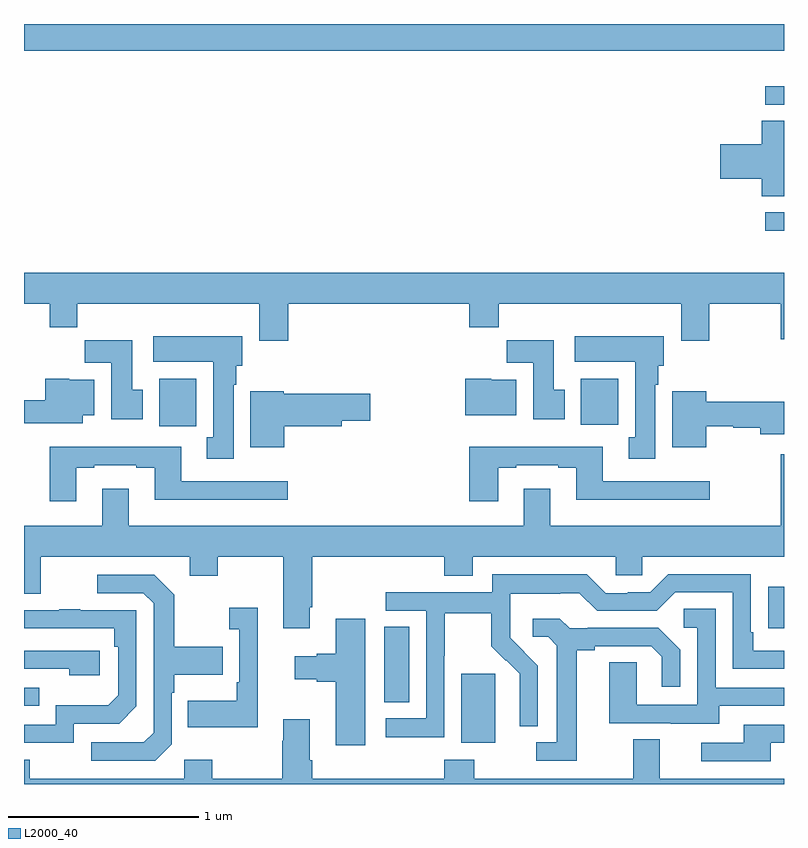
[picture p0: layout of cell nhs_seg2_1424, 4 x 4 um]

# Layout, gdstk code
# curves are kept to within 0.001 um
import gdstk
lib = gdstk.Library(unit=1e-6, precision=1e-09)
def R(c, l, rs):  # rectangles x0, y0, x1, y1
    for r in rs: c.add(gdstk.rectangle(r[:2], r[2:], *l))
def P(c, l, *ps):  # polygons
    for p in ps: c.add(gdstk.Polygon(p, *l))
L2000_40 = (2000, 40)

nhs_seg2_1424 = lib.new_cell('nhs_seg2_1424')
R(nhs_seg2_1424, L2000_40, [(187.301,620.018,187.48,620.379), (185,620.211,185.081,620.307), (186.896,620.23,187.027,620.627), (188.917,620.62,189,620.839), (185.711,621.684,185.907,621.934), (187.931,621.692,188.128,621.934), (188.901,622.711,189,622.809), (188.901,623.376,189,623.472), (185,623.66,189,623.8)])
P(nhs_seg2_1424, L2000_40, [(189,623.291),(188.882,623.291),(188.882,623.168),(188.664,623.168),(188.664,622.985),(188.882,622.985),(188.882,622.894),(189,622.894)],
  [(186.392,622.328),(187.343,622.328),(187.343,622.204),(187.499,622.204),(187.499,622.328),(188.459,622.328),(188.459,622.134),(188.607,622.134),(188.607,622.328),(188.984,622.328),(188.984,622.14),(189,622.14),(189,622.492),(185,622.492),(185,622.328),(185.135,622.328),(185.135,622.204),(185.279,622.204),(185.279,622.328),(186.239,622.328),(186.239,622.134),(186.392,622.134)],
  [(186.103,621.902),(186.118,621.902),(186.118,622.002),(186.148,622.002),(186.148,622.156),(185.679,622.156),(185.679,622.022),(185.996,622.022),(185.996,621.625),(185.963,621.625),(185.963,621.513),(186.103,621.513)],
  [(188.323,621.902),(188.338,621.902),(188.338,622.002),(188.368,622.002),(188.368,622.156),(187.899,622.156),(187.899,622.022),(188.216,622.022),(188.216,621.626),(188.183,621.626),(188.183,621.513),(188.323,621.513)],
  [(185.626,621.876),(185.569,621.876),(185.569,622.135),(185.32,622.135),(185.32,622.016),(185.459,622.016),(185.459,621.72),(185.626,621.72)],
  [(187.846,621.876),(187.789,621.876),(187.789,622.135),(187.54,622.135),(187.54,622.016),(187.679,622.016),(187.679,621.72),(187.846,621.72)],
  [(185.308,621.74),(185.371,621.74),(185.371,621.928),(185.238,621.928),(185.238,621.934),(185.113,621.934),(185.113,621.82),(185,621.82),(185,621.698),(185.308,621.698)],
  [(187.591,621.928),(187.458,621.928),(187.458,621.934),(187.322,621.934),(187.322,621.74),(187.591,621.74)],
  [(188.59,621.684),(188.733,621.684),(188.733,621.676),(188.876,621.676),(188.876,621.641),(189,621.641),(189,621.812),(188.59,621.812),(188.59,621.868),(188.411,621.868),(188.411,621.572),(188.59,621.572)],
  [(186.37,621.683),(186.673,621.683),(186.673,621.713),(186.823,621.713),(186.823,621.855),(186.366,621.855),(186.366,621.868),(186.191,621.868),(186.191,621.572),(186.37,621.572)],
  [(185.275,621.465),(185.371,621.465),(185.371,621.477),(185.591,621.477),(185.591,621.465),(185.687,621.465),(185.687,621.296),(186.388,621.296),(186.388,621.393),(185.827,621.393),(185.827,621.574),(185.135,621.574),(185.135,621.288),(185.275,621.288)],
  [(187.495,621.465),(187.591,621.465),(187.591,621.477),(187.811,621.477),(187.811,621.465),(187.907,621.465),(187.907,621.296),(188.608,621.296),(188.608,621.393),(188.047,621.393),(188.047,621.574),(187.343,621.574),(187.343,621.288),(187.495,621.288)],
  [(186.505,620.731),(186.518,620.731),(186.518,620.996),(187.211,620.996),(187.211,620.897),(187.363,620.897),(187.363,620.996),(188.115,620.996),(188.115,620.898),(188.253,620.898),(188.253,620.996),(189,620.996),(189,621.535),(188.984,621.535),(188.984,621.16),(187.771,621.16),(187.771,621.355),(187.631,621.355),(187.631,621.16),(185.551,621.16),(185.551,621.355),(185.411,621.355),(185.411,621.16),(185,621.16),(185,620.802),(185.089,620.802),(185.089,620.996),(185.873,620.996),(185.873,620.897),(186.021,620.897),(186.021,620.996),(186.365,620.996),(186.365,620.619),(186.505,620.619)],
  [(187.212,620.476),(187.215,620.476),(187.215,620.7),(187.459,620.7),(187.459,620.525),(187.536,620.448),(187.539,620.451),(187.61,620.381),(187.61,620.258),(187.608,620.258),(187.608,620.104),(187.704,620.104),(187.704,620.422),(187.558,620.57),(187.558,620.667),(187.56,620.667),(187.56,620.801),(187.823,620.801),(187.823,620.805),(187.923,620.805),(188.016,620.712),(188.331,620.712),(188.427,620.808),(188.73,620.808),(188.73,620.406),(189,620.406),(189,620.502),(188.839,620.502),(188.839,620.599),(188.826,620.599),(188.826,620.904),(188.391,620.904),(188.295,620.808),(188.177,620.808),(188.177,620.805),(188.061,620.805),(187.961,620.905),(187.464,620.905),(187.464,620.808),(186.903,620.808),(186.903,620.712),(187.116,620.712),(187.116,620.145),(186.903,620.145),(186.903,620.047),(187.212,620.047)],
  [(185.778,620.01),(185.778,620.279),(185.791,620.279),(185.791,620.375),(186.047,620.375),(186.047,620.523),(185.791,620.523),(185.791,620.795),(185.685,620.901),(185.385,620.901),(185.385,620.805),(185.628,620.805),(185.682,620.751),(185.682,620.07),(185.631,620.019),(185.355,620.019),(185.355,619.923),(185.691,619.923)],
  [(186.23,620.728),(186.081,620.728),(186.081,620.615),(186.132,620.615),(186.132,620.335),(186.12,620.335),(186.12,620.239),(185.863,620.239),(185.863,620.099),(186.23,620.099)],
  [(188.659,620.211),(189,620.211),(189,620.307),(188.64,620.307),(188.64,620.723),(188.472,620.723),(188.472,620.622),(188.544,620.622),(188.544,620.217),(188.226,620.217),(188.226,620.441),(188.081,620.441),(188.081,620.121),(188.405,620.121),(188.405,620.117),(188.659,620.117)],
  [(185.262,620.118),(185.502,620.118),(185.592,620.208),(185.592,620.715),(185.297,620.715),(185.297,620.72),(185.185,620.72),(185.185,620.715),(185,620.715),(185,620.619),(185.476,620.619),(185.476,620.522),(185.496,620.522),(185.496,620.268),(185.443,620.215),(185.166,620.215),(185.166,620.112),(185,620.112),(185,620.016),(185.262,620.016)],
  [(186.796,620.671),(186.641,620.671),(186.641,620.486),(186.542,620.486),(186.542,620.473),(186.426,620.473),(186.426,620.351),(186.542,620.351),(186.542,620.339),(186.641,620.339),(186.641,620.004),(186.796,620.004)],
  [(187.909,620.504),(188.005,620.504),(188.005,620.526),(188.3,620.526),(188.357,620.469),(188.357,620.313),(188.454,620.313),(188.454,620.506),(188.338,620.622),(187.966,620.622),(187.966,620.619),(187.872,620.619),(187.82,620.671),(187.677,620.671),(187.677,620.574),(187.758,620.574),(187.805,620.527),(187.805,620.019),(187.695,620.019),(187.695,619.923),(187.909,619.923)],
  [(185.398,620.502),(185,620.502),(185,620.406),(185.237,620.406),(185.237,620.372),(185.398,620.372)],
  [(189,619.828),(188.347,619.828),(188.347,620.036),(188.207,620.036),(188.207,619.828),(187.371,619.828),(187.371,619.927),(187.211,619.927),(187.211,619.828),(186.518,619.828),(186.518,619.924),(186.505,619.924),(186.505,620.14),(186.365,620.14),(186.365,620.027),(186.358,620.027),(186.358,619.828),(185.991,619.828),(185.991,619.927),(185.844,619.927),(185.844,619.828),(185.031,619.828),(185.031,619.927),(185,619.927),(185,619.8),(189,619.8)],
  [(188.929,620.016),(189,620.016),(189,620.112),(188.789,620.112),(188.789,620.016),(188.565,620.016),(188.565,619.92),(188.929,619.92)])

lib.write_gds('nhs_seg2_1424.gds')
